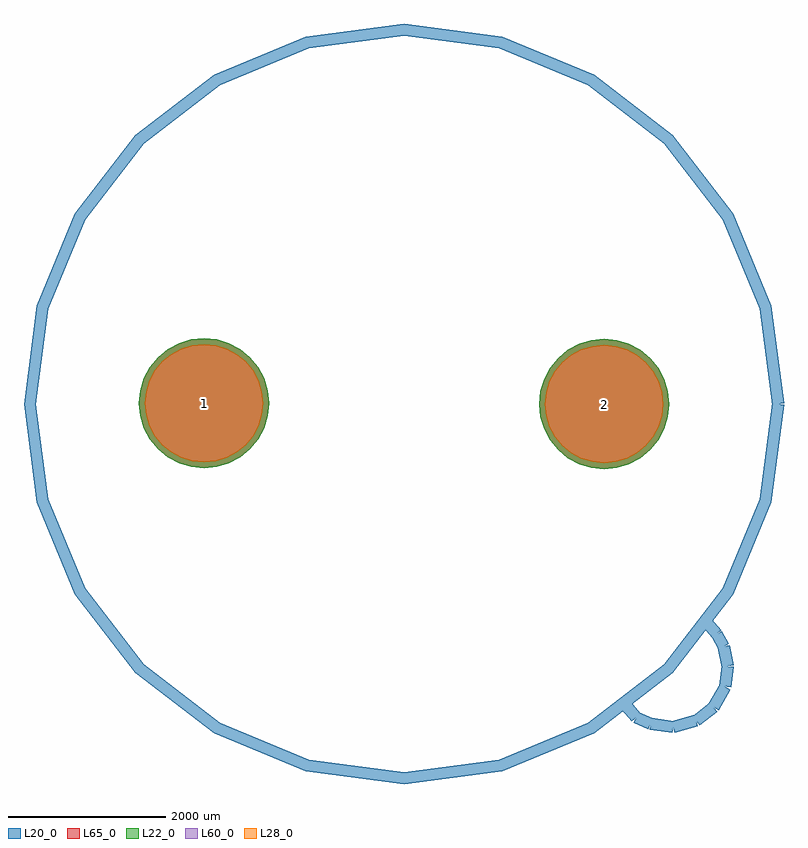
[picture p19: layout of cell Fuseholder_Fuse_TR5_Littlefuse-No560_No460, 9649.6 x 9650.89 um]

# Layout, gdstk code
import gdstk
lib = gdstk.Library(unit=1e-6, precision=1e-09)
def P(c, l, *ps):  # polygons
    for p in ps: c.add(gdstk.Polygon(p, *l))
L20_0 = (20, 0)
L22_0 = (22, 0)
L28_0 = (28, 0)
L60_0 = (60, 0)
L65_0 = (65, 0)

fuseholder_fuse_tr5_litt = lib.new_cell('Fuseholder_Fuse_TR5_Littlefuse-No560_No460')
P(fuseholder_fuse_tr5_litt, L22_0, [(3365.57,-10.16),(3349.707,150.901),(3302.727,305.772),(3226.436,448.502),(3123.766,573.606),(2998.662,676.276),(2855.932,752.567),(2701.061,799.547),(2540,815.41),(2378.939,799.547),(2224.068,752.567),(2081.338,676.276),(1956.234,573.606),(1853.564,448.502),(1777.273,305.772),(1730.293,150.901),(1714.43,-10.16),(1730.293,-171.221),(1777.273,-326.092),(1853.564,-468.822),(1956.234,-593.926),(2081.338,-696.596),(2224.068,-772.887),(2378.939,-819.867),(2540,-835.73),(2701.061,-819.867),(2855.932,-772.887),(2998.662,-696.596),(3123.766,-593.926),(3226.436,-468.822),(3302.727,-326.092),(3349.707,-171.221)],
  [(-1714.43,0),(-1730.293,161.061),(-1777.273,315.932),(-1853.564,458.662),(-1956.234,583.766),(-2081.338,686.436),(-2224.068,762.727),(-2378.939,809.707),(-2540,825.57),(-2701.061,809.707),(-2855.932,762.727),(-2998.662,686.436),(-3123.766,583.766),(-3226.436,458.662),(-3302.727,315.932),(-3349.707,161.061),(-3365.57,0),(-3349.707,-161.061),(-3302.727,-315.932),(-3226.436,-458.662),(-3123.766,-583.766),(-2998.662,-686.436),(-2855.932,-762.727),(-2701.061,-809.707),(-2540,-825.57),(-2378.939,-809.707),(-2224.068,-762.727),(-2081.338,-686.436),(-1956.234,-583.766),(-1853.564,-458.662),(-1777.273,-315.932),(-1730.293,-161.061)])
P(fuseholder_fuse_tr5_litt, L28_0, [(3290.57,-10.16),(3276.148,136.269),(3233.436,277.071),(3164.076,406.834),(3070.733,520.573),(2956.994,613.916),(2827.231,683.276),(2686.429,725.988),(2540,740.41),(2393.571,725.988),(2252.769,683.276),(2123.006,613.916),(2009.267,520.573),(1915.924,406.834),(1846.564,277.071),(1803.852,136.269),(1789.43,-10.16),(1803.852,-156.589),(1846.564,-297.391),(1915.924,-427.154),(2009.267,-540.893),(2123.006,-634.236),(2252.769,-703.596),(2393.571,-746.308),(2540,-760.73),(2686.429,-746.308),(2827.231,-703.596),(2956.994,-634.236),(3070.733,-540.893),(3164.076,-427.154),(3233.436,-297.391),(3276.148,-156.589)],
  [(-1789.43,0),(-1803.852,146.429),(-1846.564,287.231),(-1915.924,416.994),(-2009.267,530.733),(-2123.006,624.076),(-2252.769,693.436),(-2393.571,736.148),(-2540,750.57),(-2686.429,736.148),(-2827.231,693.436),(-2956.994,624.076),(-3070.733,530.733),(-3164.076,416.994),(-3233.436,287.231),(-3276.148,146.429),(-3290.57,0),(-3276.148,-146.429),(-3233.436,-287.231),(-3164.076,-416.994),(-3070.733,-530.733),(-2956.994,-624.076),(-2827.231,-693.436),(-2686.429,-736.148),(-2540,-750.57),(-2393.571,-736.148),(-2252.769,-693.436),(-2123.006,-624.076),(-2009.267,-530.733),(-1915.924,-416.994),(-1846.564,-287.231),(-1803.852,-146.429)])
P(fuseholder_fuse_tr5_litt, L60_0, [(3290.57,-10.16),(3276.148,136.269),(3233.436,277.071),(3164.076,406.834),(3070.733,520.573),(2956.994,613.916),(2827.231,683.276),(2686.429,725.988),(2540,740.41),(2393.571,725.988),(2252.769,683.276),(2123.006,613.916),(2009.267,520.573),(1915.924,406.834),(1846.564,277.071),(1803.852,136.269),(1789.43,-10.16),(1803.852,-156.589),(1846.564,-297.391),(1915.924,-427.154),(2009.267,-540.893),(2123.006,-634.236),(2252.769,-703.596),(2393.571,-746.308),(2540,-760.73),(2686.429,-746.308),(2827.231,-703.596),(2956.994,-634.236),(3070.733,-540.893),(3164.076,-427.154),(3233.436,-297.391),(3276.148,-156.589)],
  [(-1789.43,0),(-1803.852,146.429),(-1846.564,287.231),(-1915.924,416.994),(-2009.267,530.733),(-2123.006,624.076),(-2252.769,693.436),(-2393.571,736.148),(-2540,750.57),(-2686.429,736.148),(-2827.231,693.436),(-2956.994,624.076),(-3070.733,530.733),(-3164.076,416.994),(-3233.436,287.231),(-3276.148,146.429),(-3290.57,0),(-3276.148,-146.429),(-3233.436,-287.231),(-3164.076,-416.994),(-3070.733,-530.733),(-2956.994,-624.076),(-2827.231,-693.436),(-2686.429,-736.148),(-2540,-750.57),(-2393.571,-736.148),(-2252.769,-693.436),(-2123.006,-624.076),(-2009.267,-530.733),(-1915.924,-416.994),(-1846.564,-287.231),(-1803.852,-146.429)])
P(fuseholder_fuse_tr5_litt, L65_0, [(3365.57,-10.16),(3349.707,150.901),(3302.727,305.772),(3226.436,448.502),(3123.766,573.606),(2998.662,676.276),(2855.932,752.567),(2701.061,799.547),(2540,815.41),(2378.939,799.547),(2224.068,752.567),(2081.338,676.276),(1956.234,573.606),(1853.564,448.502),(1777.273,305.772),(1730.293,150.901),(1714.43,-10.16),(1730.293,-171.221),(1777.273,-326.092),(1853.564,-468.822),(1956.234,-593.926),(2081.338,-696.596),(2224.068,-772.887),(2378.939,-819.867),(2540,-835.73),(2701.061,-819.867),(2855.932,-772.887),(2998.662,-696.596),(3123.766,-593.926),(3226.436,-468.822),(3302.727,-326.092),(3349.707,-171.221)],
  [(-1714.43,0),(-1730.293,161.061),(-1777.273,315.932),(-1853.564,458.662),(-1956.234,583.766),(-2081.338,686.436),(-2224.068,762.727),(-2378.939,809.707),(-2540,825.57),(-2701.061,809.707),(-2855.932,762.727),(-2998.662,686.436),(-3123.766,583.766),(-3226.436,458.662),(-3302.727,315.932),(-3349.707,161.061),(-3365.57,0),(-3349.707,-161.061),(-3302.727,-315.932),(-3226.436,-458.662),(-3123.766,-583.766),(-2998.662,-686.436),(-2855.932,-762.727),(-2701.061,-809.707),(-2540,-825.57),(-2378.939,-809.707),(-2224.068,-762.727),(-2081.338,-686.436),(-1956.234,-583.766),(-1853.564,-458.662),(-1777.273,-315.932),(-1730.293,-161.061)])
fuseholder_fuse_tr5_litt.add(gdstk.FlexPath([(4749.8,-10.16),(4587.954,1219.179),(4113.447,2364.74),(3358.616,3348.456),(2374.9,4103.287),(1229.339,4577.794),(0,4739.64),(-1229.339,4577.794),(-2374.9,4103.287),(-3358.616,3348.456),(-4113.447,2364.74),(-4587.954,1219.179),(-4749.8,-10.16),(-4587.954,-1239.499),(-4113.447,-2385.06),(-3358.616,-3368.776),(-2374.9,-4123.607),(-1229.339,-4598.114),(0,-4759.96),(1229.339,-4598.114),(2374.9,-4123.607),(3358.616,-3368.776),(4113.447,-2385.06),(4587.954,-1239.499),(4749.8,-10.16)], 149.998, ends="flush", simple_path=True, layer=20, datatype=0))  # L20_0
fuseholder_fuse_tr5_litt.add(gdstk.FlexPath([(2948.94,-3990.34),(2819.4,-3840.48)], 149.998, ends="flush", simple_path=True, layer=20, datatype=0))  # L20_0
fuseholder_fuse_tr5_litt.add(gdstk.FlexPath([(3129.28,-4069.08),(2948.94,-3990.34)], 149.998, ends="flush", simple_path=True, layer=20, datatype=0))  # L20_0
fuseholder_fuse_tr5_litt.add(gdstk.FlexPath([(3418.84,-4109.72),(3129.28,-4069.08)], 149.998, ends="flush", simple_path=True, layer=20, datatype=0))  # L20_0
fuseholder_fuse_tr5_litt.add(gdstk.FlexPath([(3710.94,-4030.98),(3418.84,-4109.72)], 149.998, ends="flush", simple_path=True, layer=20, datatype=0))  # L20_0
fuseholder_fuse_tr5_litt.add(gdstk.FlexPath([(3929.38,-3860.8),(3710.94,-4030.98)], 149.998, ends="flush", simple_path=True, layer=20, datatype=0))  # L20_0
fuseholder_fuse_tr5_litt.add(gdstk.FlexPath([(4079.24,-3599.18),(3929.38,-3860.8)], 149.998, ends="flush", simple_path=True, layer=20, datatype=0))  # L20_0
fuseholder_fuse_tr5_litt.add(gdstk.FlexPath([(4109.72,-3340.1),(4079.24,-3599.18)], 149.998, ends="flush", simple_path=True, layer=20, datatype=0))  # L20_0
fuseholder_fuse_tr5_litt.add(gdstk.FlexPath([(4058.92,-3091.18),(4109.72,-3340.1)], 149.998, ends="flush", simple_path=True, layer=20, datatype=0))  # L20_0
fuseholder_fuse_tr5_litt.add(gdstk.FlexPath([(3970.02,-2931.16),(4058.92,-3091.18)], 149.998, ends="flush", simple_path=True, layer=20, datatype=0))  # L20_0
fuseholder_fuse_tr5_litt.add(gdstk.FlexPath([(3850.64,-2788.92),(3970.02,-2931.16)], 149.998, ends="flush", simple_path=True, layer=20, datatype=0))  # L20_0
fuseholder_fuse_tr5_litt.add(gdstk.Label('2', (2540,-10.16), layer=28, texttype=0))
fuseholder_fuse_tr5_litt.add(gdstk.Label('1', (-2540,0), layer=28, texttype=0))
fuseholder_fuse_tr5_litt.add(gdstk.Label('type', (-149.86,-7429.5), layer=9, texttype=0))
fuseholder_fuse_tr5_litt.add(gdstk.Label('devicename', (-149.86,6891.02), layer=9, texttype=0))

lib.write_gds('Fuseholder_Fuse_TR5_Littlefuse-No560_No460.gds')
